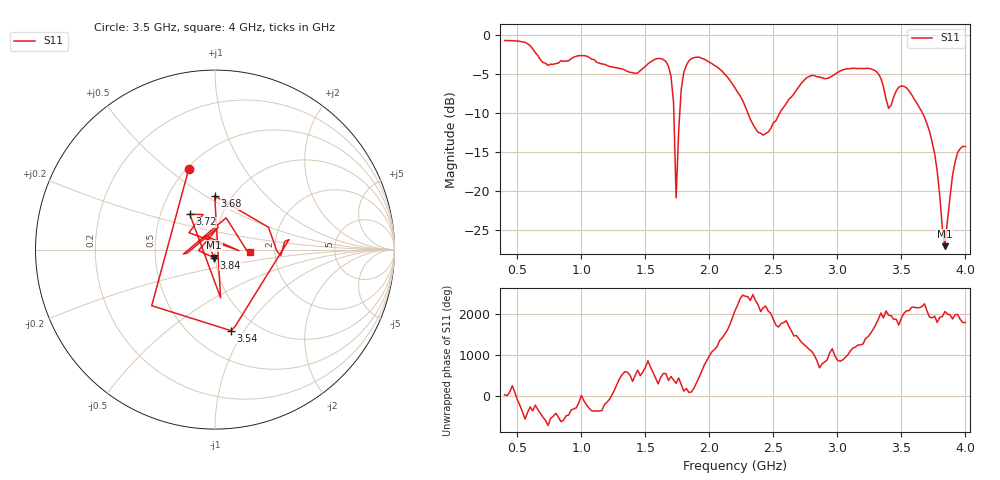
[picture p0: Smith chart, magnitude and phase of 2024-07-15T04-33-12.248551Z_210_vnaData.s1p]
!Created with skrf (http://scikit-rf.org).
# Hz S RI R 50.0
!freq ReS11 ImS11
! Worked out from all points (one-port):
!   181 points, 400 MHz to 4 GHz, reference 50 ohm
!   lowest |S11| = -27.1 dB at 3.84 GHz (marker M1), VSWR 1.09, Z = 49.3 - j4.35 ohm
!   |S11| at or under -10 dB: 1.722 GHz to 1.768 GHz (46.23 MHz wide, 2.65 % of centre); 2.301 GHz to 2.549 GHz (247.3 MHz wide, 10.2 % of centre); 3.665 GHz to end of sweep
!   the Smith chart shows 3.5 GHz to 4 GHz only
!   S11 on the Smith chart (normalised r, x): 3.5 GHz: 0.51, +0.59; 3.54 GHz: 0.76, -0.88; 3.68 GHz: 0.83, +0.55; 3.72 GHz: 0.70, +0.29; 3.84 GHz: 0.99, -0.09; 4 GHz: 1.48, -0.05
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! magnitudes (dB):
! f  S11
! 400 MHz  -0.6
! 580 MHz  -1.1
! 740 MHz  -3.8
! 860 MHz  -3.3
! 1.3 GHz  -4.2
! 1.68 GHz  -4.0
! 1.72 GHz  -8.6
! 1.74 GHz  -20.9
! 1.76 GHz  -12.3
! 1.78 GHz  -6.9
! 1.8 GHz  -4.8
! 1.86 GHz  -3.0
! 2.2 GHz  -6.7
! 2.42 GHz  -12.8
! 2.66 GHz  -7.5
! 2.78 GHz  -5.3
! 3.1 GHz  -4.3
! 3.3 GHz  -4.6
! 3.4 GHz  -9.4
! 3.5 GHz  -6.5
! 3.54 GHz  -6.7
! 3.56 GHz  -7.1
! 3.68 GHz  -10.5
! 3.72 GHz  -12.3
! 3.78 GHz  -17.5
! 3.84 GHz  -27.1
! 3.92 GHz  -16.2
! 4 GHz  -14.3
